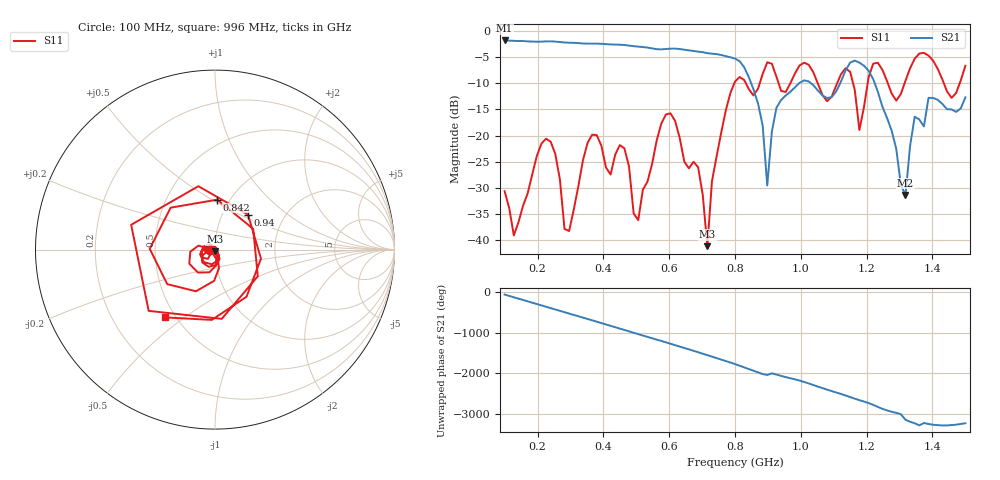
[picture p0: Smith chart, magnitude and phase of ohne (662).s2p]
! NanoVNA-App
! Date: 2025-09-25 14:25:57
! Start: 100MHz Stop: 1,5GHz Points: 101
! S-Parameter data: F S11 S21 S12 S22
# Hz S RI R 50
!  Frequency  S11_Real  S11_Imag  S21_Real  S21_Imag  S12_Real  S12_Imag  S22_Real  S22_Imag
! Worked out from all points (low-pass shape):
!   101 points, 100 MHz to 1.5 GHz, reference 50 ohm
!   highest |S21| = -1.79 dB at 100 MHz (marker M1); lowest = -31.4 dB at 1.318 GHz (marker M2)
!   |S21| within 3 dB of the highest: start of sweep to 771.4 MHz
!   lowest |S11| = -41.2 dB at 716 MHz (marker M3), VSWR 1.02, Z = 49.8 - j0.849 ohm
!   |S11| at or under -10 dB: start of sweep to 797.9 MHz; 833.1 MHz to 875.1 MHz (42.03 MHz wide, 4.92 % of centre); 1.051 GHz to 1.11 GHz (58.84 MHz wide, 5.44 % of centre) (the widest 3 of 7)
!   S12 and S22 are empty: the file has one direction only
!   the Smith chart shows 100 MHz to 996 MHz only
!   S11 on the Smith chart (normalised r, x): 100 MHz: 0.94, -0.01; 842 MHz: 0.88, +0.53; 940 MHz: 1.32, +0.55; 996 MHz: 0.44, -0.43
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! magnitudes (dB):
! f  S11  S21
! 100 MHz  -30.6  -1.8
! 128 MHz  -39.1  -1.9
! 226 MHz  -20.6  -2.0
! 296 MHz  -38.3  -2.2
! 338 MHz  -24.7  -2.4
! 464 MHz  -22.4  -2.7
! 506 MHz  -36.2  -3.0
! 576 MHz  -17.7  -3.5
! 688 MHz  -26.1  -3.9
! 716 MHz  -41.2  -4.2
! 800 MHz  -9.7  -5.3
! 842 MHz  -11.1  -8.8
! 898 MHz  -6.0  -29.5
! 940 MHz  -11.4  -13.2
! 996 MHz  -6.6  -9.9
! 1.038 GHz  -7.9  -10.4
! 1.178 GHz  -18.9  -6.0
! 1.22 GHz  -6.2  -9.2
! 1.276 GHz  -12.0  -19.1
! 1.318 GHz  -9.5  -31.4
! 1.346 GHz  -5.3  -16.4
! 1.5 GHz  -6.6  -12.7
